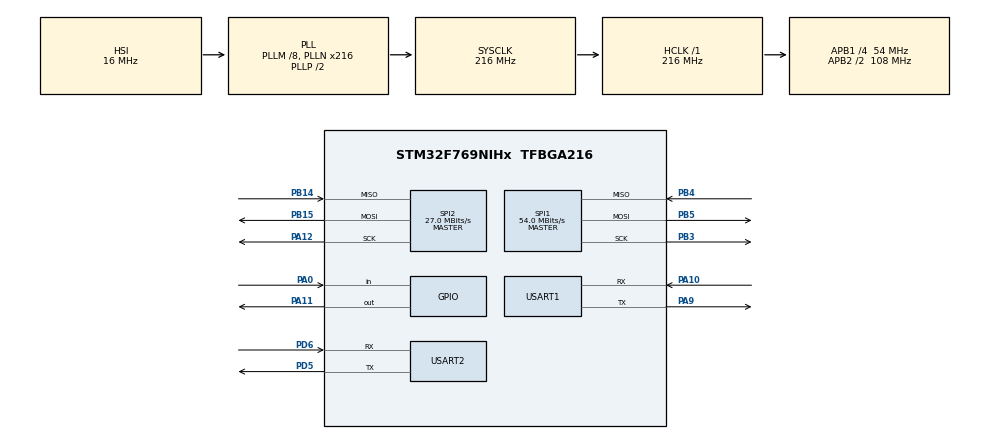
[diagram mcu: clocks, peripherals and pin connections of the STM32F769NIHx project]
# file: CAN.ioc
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CORTEX_M7.default_mode_Activation=1
FREERTOS.Tasks01=defaultTask,0,128,StartDefaultTask,Default,NULL,Dynamic,NULL,NULL
FREERTOS.configTOTAL_HEAP_SIZE=262144
FREERTOS.configUSE_TIMERS=1
Mcu.Family=STM32F7
Mcu.Name=STM32F769NIHx
Mcu.Package=TFBGA216
NVIC.PriorityGroup=NVIC_PRIORITYGROUP_4
PA0/WKUP.GPIO_PuPd=GPIO_PULLUP
PA0/WKUP.Signal=GPIO_Input
PA10.Mode=Asynchronous
PA10.Signal=USART1_RX
PA11.Signal=GPIO_Output
PA12.Mode=Full_Duplex_Master
PA12.Signal=SPI2_SCK
PA9.Mode=Asynchronous
PA9.Signal=USART1_TX
PB14.Mode=Full_Duplex_Master
PB14.Signal=SPI2_MISO
PB15.Mode=Full_Duplex_Master
PB15.Signal=SPI2_MOSI
PB3.Mode=Full_Duplex_Master
PB3.Signal=SPI1_SCK
PB4.Mode=Full_Duplex_Master
PB4.Signal=SPI1_MISO
PB5.Mode=Full_Duplex_Master
PB5.Signal=SPI1_MOSI
PD5.Mode=Asynchronous
PD5.Signal=USART2_TX
PD6.Mode=Asynchronous
PD6.Signal=USART2_RX
ProjectManager.HeapSize=0x200
ProjectManager.StackSize=0x400
ProjectManager.TargetToolchain=STM32CubeIDE
RCC.AHBFreq_Value=216000000
RCC.APB1CLKDivider=RCC_HCLK_DIV4
RCC.APB1Freq_Value=54000000
RCC.APB1TimFreq_Value=108000000
RCC.APB2CLKDivider=RCC_HCLK_DIV2
RCC.APB2Freq_Value=108000000
RCC.APB2TimFreq_Value=216000000
RCC.CortexFreq_Value=216000000
RCC.HCLKFreq_Value=216000000
RCC.HSE_VALUE=25000000
RCC.HSI_VALUE=16000000
RCC.LSE_VALUE=32768
RCC.PLLM=8
RCC.PLLN=216
RCC.SYSCLKFreq_VALUE=216000000
RCC.SYSCLKSource=RCC_SYSCLKSOURCE_PLLCLK
RCC.USBFreq_Value=216000000
RCC.VCOOutputFreq_Value=432000000
SPI1.CalculateBaudRate=54.0 MBits/s
SPI1.Direction=SPI_DIRECTION_2LINES
SPI1.Mode=SPI_MODE_MASTER
SPI1.VirtualType=VM_MASTER
SPI2.CalculateBaudRate=27.0 MBits/s
SPI2.DataSize=SPI_DATASIZE_8BIT
SPI2.Direction=SPI_DIRECTION_2LINES
SPI2.Mode=SPI_MODE_MASTER
SPI2.NSSPMode=SPI_NSS_PULSE_DISABLE
SPI2.VirtualType=VM_MASTER
USART1.VirtualMode-Asynchronous=VM_ASYNC
USART2.VirtualMode-Asynchronous=VM_ASYNC
VP_FREERTOS_VS_CMSIS_V1.Mode=CMSIS_V1
board=custom

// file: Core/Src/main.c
/* USER CODE BEGIN Header */
/**
  ******************************************************************************
  * @file           : main.c
  * @brief          : Main program body
  ******************************************************************************
  * @attention
  *
  * Copyright (c) 2025 STMicroelectronics.
  * All rights reserved.
  *
  * This software is licensed under terms that can be found in the LICENSE file
  * in the root directory of this software component.
  * If no LICENSE file comes with this software, it is provided AS-IS.
  *
  ******************************************************************************
  */
/* USER CODE END Header */
#include "main.h"
#include "cmsis_os.h"

/* USER CODE BEGIN Includes */
#include "spi.h"
#include "mcp2515.h"
#include "btn_dev.h"
#include "usart_drv.h"
#include "can_drv.h"
#include "can_mng.h"
#include "console.h"
#include "can_app.h"
#include "standby_app.h"
/* USER CODE END Includes */

/* USER CODE BEGIN PTD */
typedef osStatus (*INIT_FUNC)(void);
typedef void (*CMD_FUNC)(void);
/* USER CODE END PTD */

SPI_HandleTypeDef hspi1;
SPI_HandleTypeDef hspi2;

UART_HandleTypeDef huart1;
UART_HandleTypeDef huart2;

osThreadId defaultTaskHandle;
/* USER CODE BEGIN PV */
static const INIT_FUNC init_func[] = {
	// peri
	spi_init,
	// dev
	mcp2515_dev_init,
	btn_dev_init,
	// drv
	usart_drv_init,
	can_drv_init,
	// mng
	can_mng_init,
	// app
	can_app_init,
	console_init,
	standby_app_init,
};
static const CMD_FUNC cmd_func[] = {
	mcp2515_set_cmd,
	can_drv_set_cmd,
	can_app_set_cmd,
};
/* USER CODE END PV */

void SystemClock_Config(void);
static void MPU_Config(void);
static void MX_GPIO_Init(void);
static void MX_SPI1_Init(void);
static void MX_SPI2_Init(void);
static void MX_USART1_UART_Init(void);
static void MX_USART2_UART_Init(void);
void StartDefaultTask(void const * argument);

int main(void)
{

  /* USER CODE BEGIN 1 */
	uint8_t i, size;
  /* USER CODE END 1 */

  /* MPU Configuration--------------------------------------------------------*/
  MPU_Config();

  /* MCU Configuration--------------------------------------------------------*/

  /* Reset of all peripherals, Initializes the Flash interface and the Systick. */
  HAL_Init();

  /* Configure the system clock */
  SystemClock_Config();

  /* Initialize all configured peripherals */
  MX_GPIO_Init();
  MX_SPI1_Init();
  MX_SPI2_Init();
  MX_USART1_UART_Init();
  MX_USART2_UART_Init();
  /* USER CODE BEGIN 2 */
	// 初期化
	size = sizeof(init_func)/sizeof(init_func[0]);
	for (i = 0; i < size; i++) {
		init_func[i]();
	}
	// コマンド
	size = sizeof(cmd_func)/sizeof(cmd_func[0]);
	for (i = 0; i < size; i++) {
		cmd_func[i]();
	}
  /* USER CODE END 2 */

  /* Create the thread(s) */
  /* definition and creation of defaultTask */
  osThreadDef(defaultTask, StartDefaultTask, osPriorityNormal, 0, 128);
  defaultTaskHandle = osThreadCreate(osThread(defaultTask), NULL);

  /* Start scheduler */
  osKernelStart();

  /* We should never get here as control is now taken by the scheduler */

  /* Infinite loop */
  while (1)
  {

  }
}

void SystemClock_Config(void)
{
  RCC_OscInitTypeDef RCC_OscInitStruct = {0};
  RCC_ClkInitTypeDef RCC_ClkInitStruct = {0};

  /** Configure the main internal regulator output voltage
  */
  __HAL_RCC_PWR_CLK_ENABLE();
  __HAL_PWR_VOLTAGESCALING_CONFIG(PWR_REGULATOR_VOLTAGE_SCALE1);

  /** Initializes the RCC Oscillators according to the specified parameters
  * in the RCC_OscInitTypeDef structure.
  */
  RCC_OscInitStruct.OscillatorType = RCC_OSCILLATORTYPE_HSI;
  RCC_OscInitStruct.HSIState = RCC_HSI_ON;
  RCC_OscInitStruct.HSICalibrationValue = RCC_HSICALIBRATION_DEFAULT;
  RCC_OscInitStruct.PLL.PLLState = RCC_PLL_ON;
  RCC_OscInitStruct.PLL.PLLSource = RCC_PLLSOURCE_HSI;
  RCC_OscInitStruct.PLL.PLLM = 8;
  RCC_OscInitStruct.PLL.PLLN = 216;
  RCC_OscInitStruct.PLL.PLLP = RCC_PLLP_DIV2;
  RCC_OscInitStruct.PLL.PLLQ = 2;
  RCC_OscInitStruct.PLL.PLLR = 2;
  if (HAL_RCC_OscConfig(&RCC_OscInitStruct) != HAL_OK)
  {
    Error_Handler();
  }

  /** Activate the Over-Drive mode
  */
  if (HAL_PWREx_EnableOverDrive() != HAL_OK)
  {
    Error_Handler();
  }

  /** Initializes the CPU, AHB and APB buses clocks
  */
  RCC_ClkInitStruct.ClockType = RCC_CLOCKTYPE_HCLK|RCC_CLOCKTYPE_SYSCLK
                              |RCC_CLOCKTYPE_PCLK1|RCC_CLOCKTYPE_PCLK2;
  RCC_ClkInitStruct.SYSCLKSource = RCC_SYSCLKSOURCE_PLLCLK;
  RCC_ClkInitStruct.AHBCLKDivider = RCC_SYSCLK_DIV1;
  RCC_ClkInitStruct.APB1CLKDivider = RCC_HCLK_DIV4;
  RCC_ClkInitStruct.APB2CLKDivider = RCC_HCLK_DIV2;

  if (HAL_RCC_ClockConfig(&RCC_ClkInitStruct, FLASH_LATENCY_7) != HAL_OK)
  {
    Error_Handler();
  }
}

static void MX_SPI1_Init(void)
{

  /* SPI1 parameter configuration*/
  hspi1.Instance = SPI1;
  hspi1.Init.Mode = SPI_MODE_MASTER;
  hspi1.Init.Direction = SPI_DIRECTION_2LINES;
  hspi1.Init.DataSize = SPI_DATASIZE_4BIT;
  hspi1.Init.CLKPolarity = SPI_POLARITY_LOW;
  hspi1.Init.CLKPhase = SPI_PHASE_1EDGE;
  hspi1.Init.NSS = SPI_NSS_SOFT;
  hspi1.Init.BaudRatePrescaler = SPI_BAUDRATEPRESCALER_2;
  hspi1.Init.FirstBit = SPI_FIRSTBIT_MSB;
  hspi1.Init.TIMode = SPI_TIMODE_DISABLE;
  hspi1.Init.CRCCalculation = SPI_CRCCALCULATION_DISABLE;
  hspi1.Init.CRCPolynomial = 7;
  hspi1.Init.CRCLength = SPI_CRC_LENGTH_DATASIZE;
  hspi1.Init.NSSPMode = SPI_NSS_PULSE_ENABLE;
  if (HAL_SPI_Init(&hspi1) != HAL_OK)
  {
    Error_Handler();
  }

}

static void MX_SPI2_Init(void)
{

  /* SPI2 parameter configuration*/
  hspi2.Instance = SPI2;
  hspi2.Init.Mode = SPI_MODE_MASTER;
  hspi2.Init.Direction = SPI_DIRECTION_2LINES;
  hspi2.Init.DataSize = SPI_DATASIZE_8BIT;
  hspi2.Init.CLKPolarity = SPI_POLARITY_LOW;
  hspi2.Init.CLKPhase = SPI_PHASE_1EDGE;
  hspi2.Init.NSS = SPI_NSS_SOFT;
  hspi2.Init.BaudRatePrescaler = SPI_BAUDRATEPRESCALER_2;
  hspi2.Init.FirstBit = SPI_FIRSTBIT_MSB;
  hspi2.Init.TIMode = SPI_TIMODE_DISABLE;
  hspi2.Init.CRCCalculation = SPI_CRCCALCULATION_DISABLE;
  hspi2.Init.CRCPolynomial = 7;
  hspi2.Init.CRCLength = SPI_CRC_LENGTH_DATASIZE;
  hspi2.Init.NSSPMode = SPI_NSS_PULSE_ENABLE;
  if (HAL_SPI_Init(&hspi2) != HAL_OK)
  {
    Error_Handler();
  }

}

static void MX_USART1_UART_Init(void)
{

  huart1.Instance = USART1;
  huart1.Init.BaudRate = 115200;
  huart1.Init.WordLength = UART_WORDLENGTH_8B;
  huart1.Init.StopBits = UART_STOPBITS_1;
  huart1.Init.Parity = UART_PARITY_NONE;
  huart1.Init.Mode = UART_MODE_TX_RX;
  huart1.Init.HwFlowCtl = UART_HWCONTROL_NONE;
  huart1.Init.OverSampling = UART_OVERSAMPLING_16;
  huart1.Init.OneBitSampling = UART_ONE_BIT_SAMPLE_DISABLE;
  huart1.AdvancedInit.AdvFeatureInit = UART_ADVFEATURE_NO_INIT;
  if (HAL_UART_Init(&huart1) != HAL_OK)
  {
    Error_Handler();
  }

}

static void MX_USART2_UART_Init(void)
{

  huart2.Instance = USART2;
  huart2.Init.BaudRate = 115200;
  huart2.Init.WordLength = UART_WORDLENGTH_8B;
  huart2.Init.StopBits = UART_STOPBITS_1;
  huart2.Init.Parity = UART_PARITY_NONE;
  huart2.Init.Mode = UART_MODE_TX_RX;
  huart2.Init.HwFlowCtl = UART_HWCONTROL_NONE;
  huart2.Init.OverSampling = UART_OVERSAMPLING_16;
  huart2.Init.OneBitSampling = UART_ONE_BIT_SAMPLE_DISABLE;
  huart2.AdvancedInit.AdvFeatureInit = UART_ADVFEATURE_NO_INIT;
  if (HAL_UART_Init(&huart2) != HAL_OK)
  {
    Error_Handler();
  }

}

static void MX_GPIO_Init(void)
{
  GPIO_InitTypeDef GPIO_InitStruct = {0};

  /* GPIO Ports Clock Enable */
  __HAL_RCC_GPIOB_CLK_ENABLE();
  __HAL_RCC_GPIOD_CLK_ENABLE();
  __HAL_RCC_GPIOA_CLK_ENABLE();

  /*Configure GPIO pin Output Level */
  HAL_GPIO_WritePin(GPIOA, GPIO_PIN_11, GPIO_PIN_RESET);

  /*Configure GPIO pin : PA11 */
  GPIO_InitStruct.Pin = GPIO_PIN_11;
  GPIO_InitStruct.Mode = GPIO_MODE_OUTPUT_PP;
  GPIO_InitStruct.Pull = GPIO_NOPULL;
  GPIO_InitStruct.Speed = GPIO_SPEED_FREQ_LOW;
  HAL_GPIO_Init(GPIOA, &GPIO_InitStruct);

  /*Configure GPIO pin : PA0 */
  GPIO_InitStruct.Pin = GPIO_PIN_0;
  GPIO_InitStruct.Mode = GPIO_MODE_INPUT;
  GPIO_InitStruct.Pull = GPIO_PULLUP;
  HAL_GPIO_Init(GPIOA, &GPIO_InitStruct);

}

void StartDefaultTask(void const * argument)
{
  for(;;)
  {
    osDelay(1);
  }
}

 /* MPU Configuration */

void MPU_Config(void)
{
  MPU_Region_InitTypeDef MPU_InitStruct = {0};

  /* Disables the MPU */
  HAL_MPU_Disable();

  /** Initializes and configures the Region and the memory to be protected
  */
  MPU_InitStruct.Enable = MPU_REGION_ENABLE;
  MPU_InitStruct.Number = MPU_REGION_NUMBER0;
  MPU_InitStruct.BaseAddress = 0x0;
  MPU_InitStruct.Size = MPU_REGION_SIZE_4GB;
  MPU_InitStruct.SubRegionDisable = 0x87;
  MPU_InitStruct.TypeExtField = MPU_TEX_LEVEL0;
  MPU_InitStruct.AccessPermission = MPU_REGION_NO_ACCESS;
  MPU_InitStruct.DisableExec = MPU_INSTRUCTION_ACCESS_DISABLE;
  MPU_InitStruct.IsShareable = MPU_ACCESS_SHAREABLE;
  MPU_InitStruct.IsCacheable = MPU_ACCESS_NOT_CACHEABLE;
  MPU_InitStruct.IsBufferable = MPU_ACCESS_NOT_BUFFERABLE;

  HAL_MPU_ConfigRegion(&MPU_InitStruct);
  /* Enables the MPU */
  HAL_MPU_Enable(MPU_PRIVILEGED_DEFAULT);

}

void Error_Handler(void)
{
  __disable_irq();
  while (1)
  {
  }
}
